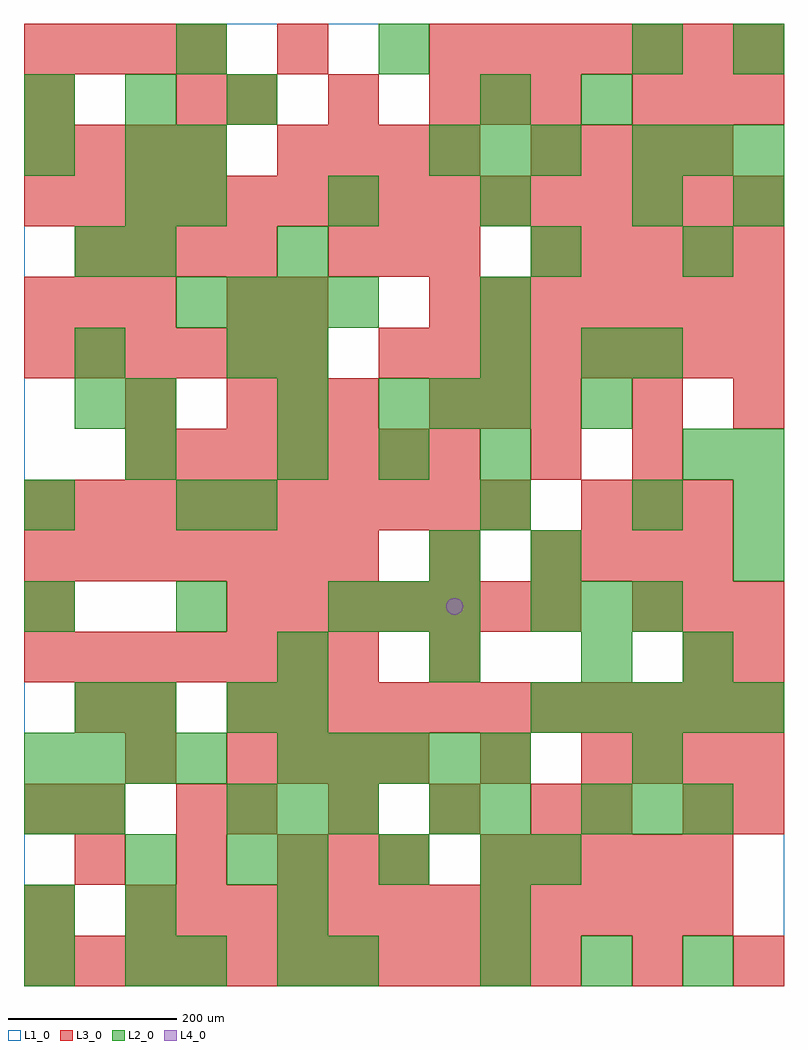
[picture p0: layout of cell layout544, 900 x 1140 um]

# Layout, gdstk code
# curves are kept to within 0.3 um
import gdstk
lib = gdstk.Library(unit=1e-6, precision=1e-09)
def R(c, l, rs):  # rectangles x0, y0, x1, y1
    for r in rs: c.add(gdstk.rectangle(r[:2], r[2:], *l))
def A(c, l, x, y, w, h, nx, ny, dx, dy):  # array of equal rectangles
    R(c, l, [(x+i*dx, y+j*dy, x+i*dx+w, y+j*dy+h) for i in range(nx) for j in range(ny)])
def P(c, l, *ps):  # polygons
    for p in ps: c.add(gdstk.Polygon(p, *l))
L1_0 = (1, 0)
L2_0 = (2, 0)
L3_0 = (3, 0)
L4_0 = (4, 0)

layout544 = lib.new_cell('layout544')
R(layout544, L1_0, [(0,0,900,1140)])
A(layout544, L2_0, 120, 0, 60, 60, 1, 3, 0, 60)
A(layout544, L2_0, 540, 0, 60, 60, 3, 1, 120, 0)
A(layout544, L2_0, 300, 120, 60, 60, 3, 2, 120, 480)
A(layout544, L2_0, 600, 120, 60, 60, 1, 3, 0, 360)
A(layout544, L2_0, 240, 180, 60, 60, 3, 1, 60, 0)
A(layout544, L2_0, 660, 180, 60, 60, 3, 1, 60, 0)
A(layout544, L2_0, 0, 240, 60, 60, 4, 1, 60, 0)
A(layout544, L2_0, 300, 240, 60, 60, 5, 1, 60, 0)
A(layout544, L2_0, 600, 300, 60, 60, 5, 1, 60, 0)
A(layout544, L2_0, 300, 360, 60, 60, 3, 1, 180, 0)
A(layout544, L2_0, 780, 360, 60, 60, 1, 3, 0, 240)
A(layout544, L2_0, 0, 420, 60, 60, 3, 1, 180, 0)
A(layout544, L2_0, 600, 420, 60, 60, 3, 1, 60, 0)
A(layout544, L2_0, 840, 480, 60, 60, 1, 3, 0, 60)
A(layout544, L2_0, 420, 660, 60, 60, 3, 1, 60, 0)
A(layout544, L2_0, 180, 780, 60, 60, 4, 1, 60, 0)
A(layout544, L2_0, 120, 840, 60, 60, 1, 3, 0, 60)
A(layout544, L2_0, 180, 900, 60, 60, 4, 1, 180, 0)
A(layout544, L2_0, 480, 960, 60, 60, 3, 1, 60, 0)
A(layout544, L2_0, 720, 960, 60, 60, 3, 1, 60, 0)
A(layout544, L2_0, 0, 1020, 60, 60, 3, 1, 120, 0)
R(layout544, L2_0, [(0,0,60,60), (180,0,240,60), (300,0,360,60), (360,0,420,60), (0,60,60,120), (300,60,360,120), (540,60,600,120), (240,120,300,180), (0,180,60,240), (60,180,120,240), (480,180,540,240), (540,180,600,240), (720,240,780,300), (60,300,120,360), (120,300,180,360), (240,300,300,360), (300,300,360,360), (420,420,480,480), (480,420,540,480), (480,480,540,540), (0,540,60,600), (180,540,240,600), (240,540,300,600), (540,540,600,600), (720,540,780,600), (120,600,180,660), (60,660,120,720), (120,660,180,720), (300,660,360,720), (660,660,720,720), (60,720,120,780), (240,720,300,780), (300,720,360,780), (540,720,600,780), (660,720,720,780), (720,720,780,780), (540,780,600,840), (60,840,120,900), (300,840,360,900), (840,900,900,960), (0,960,60,1020), (180,960,240,1020), (540,1020,600,1080), (660,1020,720,1080), (180,1080,240,1140), (420,1080,480,1140), (720,1080,780,1140), (840,1080,900,1140)])
A(layout544, L3_0, 0, 0, 60, 60, 11, 1, 60, 0)
A(layout544, L3_0, 840, 0, 60, 60, 1, 3, 0, 180)
A(layout544, L3_0, 120, 60, 60, 60, 12, 1, 60, 0)
A(layout544, L3_0, 60, 120, 60, 60, 3, 1, 120, 0)
A(layout544, L3_0, 540, 120, 60, 60, 5, 1, 60, 0)
A(layout544, L3_0, 240, 180, 60, 60, 4, 1, 120, 0)
A(layout544, L3_0, 240, 240, 60, 60, 4, 1, 60, 0)
A(layout544, L3_0, 660, 240, 60, 60, 4, 1, 60, 0)
A(layout544, L3_0, 240, 300, 60, 60, 11, 1, 60, 0)
A(layout544, L3_0, 0, 360, 60, 60, 7, 2, 60, 120)
A(layout544, L3_0, 240, 420, 60, 60, 7, 1, 60, 0)
A(layout544, L3_0, 720, 420, 60, 60, 3, 2, 60, 600)
A(layout544, L3_0, 600, 480, 60, 60, 4, 2, 60, 480)
A(layout544, L3_0, 0, 540, 60, 60, 10, 1, 60, 0)
A(layout544, L3_0, 660, 540, 60, 60, 3, 1, 60, 0)
A(layout544, L3_0, 120, 600, 60, 60, 7, 1, 60, 0)
A(layout544, L3_0, 240, 660, 60, 60, 3, 1, 60, 0)
A(layout544, L3_0, 480, 660, 60, 60, 3, 1, 60, 0)
A(layout544, L3_0, 0, 720, 60, 60, 6, 1, 60, 0)
A(layout544, L3_0, 420, 720, 60, 60, 8, 1, 60, 0)
A(layout544, L3_0, 0, 780, 60, 60, 3, 1, 60, 0)
A(layout544, L3_0, 480, 780, 60, 60, 7, 2, 60, 300)
A(layout544, L3_0, 60, 840, 60, 60, 4, 1, 60, 0)
A(layout544, L3_0, 360, 840, 60, 60, 3, 1, 60, 0)
A(layout544, L3_0, 600, 840, 60, 60, 5, 1, 60, 0)
A(layout544, L3_0, 0, 900, 60, 60, 15, 1, 60, 0)
A(layout544, L3_0, 0, 960, 60, 60, 4, 2, 60, 120)
A(layout544, L3_0, 300, 960, 60, 60, 4, 1, 60, 0)
A(layout544, L3_0, 240, 1020, 60, 60, 3, 1, 120, 0)
R(layout544, L3_0, [(720,0,780,60), (0,60,60,120), (360,120,420,180), (420,120,480,180), (0,180,60,240), (60,180,120,240), (180,180,240,240), (660,180,720,240), (780,180,840,240), (120,240,180,300), (540,240,600,300), (60,300,120,360), (120,300,180,360), (480,360,540,420), (780,360,840,420), (0,420,60,480), (480,480,540,540), (600,600,660,660), (720,600,780,660), (120,660,180,720), (720,660,780,720), (840,660,900,720), (240,780,300,840), (300,780,360,840), (0,1020,60,1080), (180,1020,240,1080), (540,1020,600,1080), (600,1020,660,1080), (300,1080,360,1140)])
P(layout544, L4_0, [(520,450),(519.239,453.827),(517.071,457.071),(513.827,459.239),(510,460),(506.173,459.239),(502.929,457.071),(500.761,453.827),(500,450),(500.761,446.173),(502.929,442.929),(506.173,440.761),(510,440),(513.827,440.761),(517.071,442.929),(519.239,446.173)])

lib.write_gds('layout544.gds')
